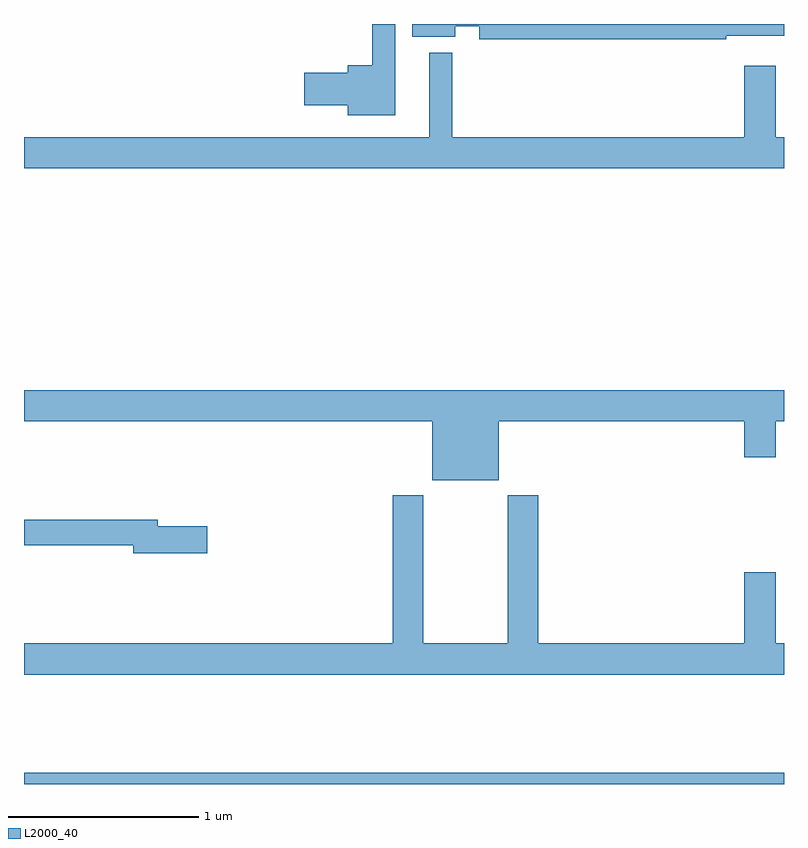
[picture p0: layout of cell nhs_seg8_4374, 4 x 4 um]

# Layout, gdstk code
import gdstk
lib = gdstk.Library(unit=1e-6, precision=1e-09)
def R(c, l, rs):  # rectangles x0, y0, x1, y1
    for r in rs: c.add(gdstk.rectangle(r[:2], r[2:], *l))
def P(c, l, *ps):  # polygons
    for p in ps: c.add(gdstk.Polygon(p, *l))
L2000_40 = (2000, 40)

nhs_seg8_4374 = lib.new_cell('nhs_seg8_4374')
R(nhs_seg8_4374, L2000_40, [(377,1139.9,381,1139.96)])
P(nhs_seg8_4374, L2000_40, [(378.955,1143.9),(378.834,1143.9),(378.834,1143.682),(378.704,1143.682),(378.704,1143.644),(378.474,1143.644),(378.474,1143.473),(378.704,1143.473),(378.704,1143.419),(378.955,1143.419)],
  [(380.696,1143.839),(381,1143.839),(381,1143.9),(379.043,1143.9),(379.043,1143.833),(379.27,1143.833),(379.27,1143.887),(379.395,1143.887),(379.395,1143.82),(380.696,1143.82)],
  [(381,1143.304),(380.956,1143.304),(380.956,1143.679),(380.792,1143.679),(380.792,1143.304),(379.255,1143.304),(379.255,1143.748),(379.133,1143.748),(379.133,1143.304),(377,1143.304),(377,1143.14),(381,1143.14)],
  [(379.498,1141.808),(380.792,1141.808),(380.792,1141.62),(380.956,1141.62),(380.956,1141.808),(381,1141.808),(381,1141.972),(377,1141.972),(377,1141.808),(379.148,1141.808),(379.148,1141.499),(379.498,1141.499)],
  [(381,1140.64),(380.956,1140.64),(380.956,1141.015),(380.792,1141.015),(380.792,1140.64),(379.706,1140.64),(379.706,1141.42),(379.546,1141.42),(379.546,1140.64),(379.101,1140.64),(379.101,1141.42),(378.941,1141.42),(378.941,1140.64),(377,1140.64),(377,1140.476),(381,1140.476)],
  [(377.965,1141.256),(377.704,1141.256),(377.704,1141.292),(377,1141.292),(377,1141.156),(377.576,1141.156),(377.576,1141.114),(377.965,1141.114)])

lib.write_gds('nhs_seg8_4374.gds')
